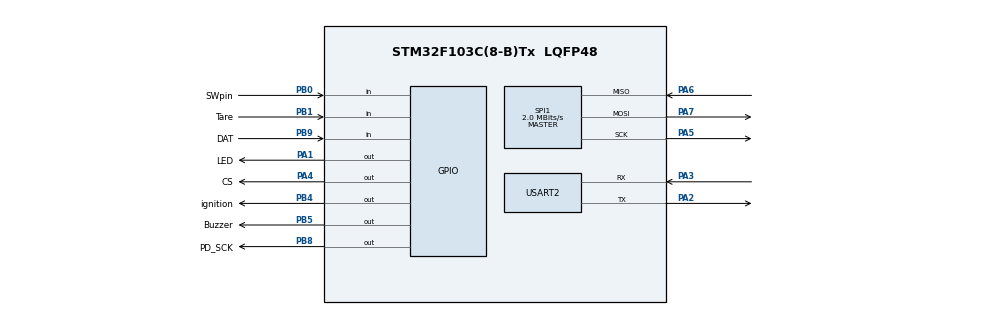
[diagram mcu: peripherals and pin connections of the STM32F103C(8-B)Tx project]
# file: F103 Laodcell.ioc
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FATFS._MAX_SS=4096
FATFS._USE_LFN=1
Mcu.Family=STM32F1
Mcu.Name=STM32F103C(8-B)Tx
Mcu.Package=LQFP48
NVIC.PriorityGroup=NVIC_PRIORITYGROUP_4
PA1.GPIO_Label=LED
PA1.Signal=GPIO_Output
PA13.Mode=Trace_Asynchronous_SW
PA13.Signal=SYS_JTMS-SWDIO
PA14.Mode=Trace_Asynchronous_SW
PA14.Signal=SYS_JTCK-SWCLK
PA2.Mode=Asynchronous
PA2.Signal=USART2_TX
PA3.Mode=Asynchronous
PA3.Signal=USART2_RX
PA4.GPIO_Label=CS
PA4.Signal=GPIO_Output
PA5.Mode=Full_Duplex_Master
PA5.Signal=SPI1_SCK
PA6.Mode=Full_Duplex_Master
PA6.Signal=SPI1_MISO
PA7.Mode=Full_Duplex_Master
PA7.Signal=SPI1_MOSI
PB0.GPIO_Label=SWpin
PB0.Signal=GPIO_Input
PB1.GPIO_Label=Tare
PB1.Signal=GPIO_Input
PB3.Mode=Trace_Asynchronous_SW
PB3.Signal=SYS_JTDO-TRACESWO
PB4.GPIO_Label=ignition
PB4.Signal=GPIO_Output
PB5.GPIO_Label=Buzzer
PB5.Signal=GPIO_Output
PB8.GPIO_Label=PD_SCK
PB8.Signal=GPIO_Output
PB9.GPIO_Label=DAT
PB9.Signal=GPIO_Input
PC14-OSC32_IN.Mode=LSE-External-Oscillator
PC14-OSC32_IN.Signal=RCC_OSC32_IN
PC15-OSC32_OUT.Mode=LSE-External-Oscillator
PC15-OSC32_OUT.Signal=RCC_OSC32_OUT
PD0-OSC_IN.Mode=HSE-External-Oscillator
PD0-OSC_IN.Signal=RCC_OSC_IN
PD1-OSC_OUT.Mode=HSE-External-Oscillator
PD1-OSC_OUT.Signal=RCC_OSC_OUT
ProjectManager.HeapSize=0x200
ProjectManager.StackSize=0x400
ProjectManager.TargetToolchain=STM32CubeIDE
RCC.APB1Freq_Value=8000000
RCC.APB2Freq_Value=8000000
RCC.HSE_VALUE=16000000
RCC.PLLSourceVirtual=RCC_PLLSOURCE_HSE
RCC.USBFreq_Value=32000000
SPI1.BaudRatePrescaler=SPI_BAUDRATEPRESCALER_4
SPI1.CalculateBaudRate=2.0 MBits/s
SPI1.Direction=SPI_DIRECTION_2LINES
SPI1.Mode=SPI_MODE_MASTER
SPI1.VirtualType=VM_MASTER
TIM2.Period=10000
TIM2.Prescaler=8000
TIM4.Period=30000
TIM4.Prescaler=8000
USART2.VirtualMode=VM_ASYNC
VP_FATFS_VS_Generic.Mode=User_defined
VP_TIM2_VS_ClockSourceINT.Mode=Internal
VP_TIM4_VS_ClockSourceINT.Mode=Internal
board=custom

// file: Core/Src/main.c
/* USER CODE BEGIN Header */
/**
  ******************************************************************************
  * @file           : main.c
  * @brief          : Main program body
  ******************************************************************************
  * @attention
  *
  * Copyright (c) 2023 STMicroelectronics.
  * All rights reserved.
  *
  * This software is licensed under terms that can be found in the LICENSE file
  * in the root directory of this software component.
  * If no LICENSE file comes with this software, it is provided AS-IS.
  *
  ******************************************************************************
  */
/* USER CODE END Header */
#include "main.h"
#include "fatfs.h"

/* USER CODE BEGIN Includes */
#include "fatfs_sd_card.h"
#include <HX711.h>
#include "string.h"
#include "stdio.h"
#include "stdbool.h"
/* USER CODE END Includes */

/* USER CODE BEGIN PTD */
FATFS       FatFs;                //Fatfs handle
FIL         fil;                  //File handle
FRESULT     fres;                 //Result after operations
char        buf[100];
char time[10];
char data[50];
float Thrust;
hx711_t loadcell;
int Start_button_state = 1;
/* USER CODE END PTD */

SPI_HandleTypeDef hspi1;

TIM_HandleTypeDef htim2;
TIM_HandleTypeDef htim4;

UART_HandleTypeDef huart2;

/* USER CODE BEGIN PV */
/* hx711 calibrate here*/
void init_weight(hx711_t *hx711){
	char buffer[128] = {0};
	sprintf(buffer,"HX711 initialization\n\r");
	HAL_UART_Transmit(&huart2, (uint8_t *)(buffer), sizeof(buffer), 100);

	/* Initialize the hx711 sensors */
	hx711_init(hx711, PD_SCK_GPIO_Port, PD_SCK_Pin, DAT_GPIO_Port, DAT_Pin);

	/* Configure gain for each channel (see datasheet for details) */
	set_gain(hx711, 128, 32);

	/* Set HX711 scaling factor (see README for procedure) */
	set_scale(hx711, 206.4, 1);

	/* Tare weight */
	tare_all(hx711, 10);

	sprintf(buffer,"HX711 module has been initialized\n\r");
	HAL_UART_Transmit(&huart2, (uint8_t *)(buffer), sizeof(buffer), 100);
}

/* USER CODE END PV */

void SystemClock_Config(void);
static void MX_GPIO_Init(void);
static void MX_SPI1_Init(void);
static void MX_TIM2_Init(void);
static void MX_USART2_UART_Init(void);
static void MX_TIM4_Init(void);
/* USER CODE BEGIN PFP */
void process_SD_card( void );
/* USER CODE END PFP */

/* USER CODE BEGIN 0 */

/* delay function*/
void delay2_ms(uint32_t target) {
	__HAL_TIM_SET_COUNTER(&htim2, 0);
	HAL_TIM_Base_Start(&htim2);
	while(__HAL_TIM_GET_COUNTER(&htim2) < target) {
		// waiting counter to count to target
	    }
}
void delay4_ms(uint32_t target) {
	__HAL_TIM_SET_COUNTER(&htim4, 0);
	HAL_TIM_Base_Start(&htim4);
	while(__HAL_TIM_GET_COUNTER(&htim4) < target) {
		// waiting counter to count to target
	    }
}

/* sequence initialized function to count down*/
void SI_func(){
	for (int b =0;b<= 10;b++ ){
			HAL_GPIO_WritePin(Buzzer_GPIO_Port, Buzzer_Pin, GPIO_PIN_SET);
			delay2_ms(500);
			HAL_GPIO_WritePin(Buzzer_GPIO_Port, Buzzer_Pin, GPIO_PIN_RESET);
			delay2_ms(500);
		}
	HAL_GPIO_WritePin(Buzzer_GPIO_Port, Buzzer_Pin, GPIO_PIN_RESET);
}
void ignition(){
	HAL_GPIO_WritePin(ignition_GPIO_Port, ignition_Pin, GPIO_PIN_SET);
	delay2_ms(500);
	HAL_GPIO_WritePin(ignition_GPIO_Port, ignition_Pin, GPIO_PIN_RESET);
}
/* USER CODE END 0 */

int main(void)
{

  /* MCU Configuration--------------------------------------------------------*/

  /* Reset of all peripherals, Initializes the Flash interface and the Systick. */
  HAL_Init();

  /* Configure the system clock */
  SystemClock_Config();

  /* Initialize all configured peripherals */
  MX_GPIO_Init();
  MX_SPI1_Init();
  MX_TIM2_Init();
  MX_USART2_UART_Init();
  MX_FATFS_Init();
  MX_TIM4_Init();
  /* USER CODE BEGIN 2 */
  init_weight(&loadcell);
  process_SD_card();

  /* USER CODE END 2 */

  /* Infinite loop */
  while (1){
  /* motor insert */
	  Start_button_state = HAL_GPIO_ReadPin(SWpin_GPIO_Port, SWpin_Pin);
  	  if(Start_button_state == GPIO_PIN_RESET){
  		  tare_all(&loadcell, 10);
  		  delay2_ms(1000);
  /* to indicate that it is tared */
  		  for(int u =0;u <= 5;u++ ){
  			  HAL_GPIO_WritePin(LED_GPIO_Port, LED_Pin, GPIO_PIN_SET);
  			  delay2_ms(500);
  			  HAL_GPIO_WritePin(LED_GPIO_Port, LED_Pin, GPIO_PIN_RESET);
  			  delay2_ms(500);
  	       	  }
  		  HAL_GPIO_WritePin(LED_GPIO_Port, LED_Pin, GPIO_PIN_RESET);
  		  delay4_ms(5000);
  /* SD card */
  		  f_mount(&FatFs, "", 1);
  		  f_open(&fil, "test.txt", FA_WRITE | FA_READ | FA_CREATE_ALWAYS);
  /* count down function called and set the timer*/
  		  SI_func();
  		  delay2_ms(1000);
  		  ignition();
  		  HAL_TIM_Base_Start(&htim4);
  		  __HAL_TIM_SET_COUNTER(&htim4, 0);
  /* Read data from the load cell at T-0 and send to USART and SD card*/
  		  while(__HAL_TIM_GET_COUNTER(&htim4) < 10000){
  		  		  Thrust = get_weight(&loadcell, 1, CHANNEL_A);
  		  		  printf("Thrust = %.3f\n", Thrust);
  		  		  snprintf(data, sizeof(data), "%.3f\n", Thrust);
  		  		  UINT bytesWritten;
  		  		  f_write(&fil, data, strlen(data), &bytesWritten);
  		  }
  		  HAL_TIM_Base_Stop(&htim4);
  /* data stop writing */
  		  f_close(&fil);
  		  f_mount(NULL, "", 0);
  		  delay2_ms(5000);
  /* sequence terminated */
  		  HAL_GPIO_WritePin(Buzzer_GPIO_Port, Buzzer_Pin, GPIO_PIN_SET);// high level
  		  delay2_ms(500);
  		  HAL_GPIO_WritePin(Buzzer_GPIO_Port, Buzzer_Pin, GPIO_PIN_RESET);// low level
  	  }else{
  		  Thrust = get_weight(&loadcell, 10, CHANNEL_A);
  		  printf("Thrust = %.3f\n", Thrust);
  	  }
        }
}

void SystemClock_Config(void)
{
  RCC_OscInitTypeDef RCC_OscInitStruct = {0};
  RCC_ClkInitTypeDef RCC_ClkInitStruct = {0};

  /** Initializes the RCC Oscillators according to the specified parameters
  * in the RCC_OscInitTypeDef structure.
  */
  RCC_OscInitStruct.OscillatorType = RCC_OSCILLATORTYPE_HSI;
  RCC_OscInitStruct.HSIState = RCC_HSI_ON;
  RCC_OscInitStruct.HSICalibrationValue = RCC_HSICALIBRATION_DEFAULT;
  RCC_OscInitStruct.PLL.PLLState = RCC_PLL_NONE;
  if (HAL_RCC_OscConfig(&RCC_OscInitStruct) != HAL_OK)
  {
    Error_Handler();
  }

  /** Initializes the CPU, AHB and APB buses clocks
  */
  RCC_ClkInitStruct.ClockType = RCC_CLOCKTYPE_HCLK|RCC_CLOCKTYPE_SYSCLK
                              |RCC_CLOCKTYPE_PCLK1|RCC_CLOCKTYPE_PCLK2;
  RCC_ClkInitStruct.SYSCLKSource = RCC_SYSCLKSOURCE_HSI;
  RCC_ClkInitStruct.AHBCLKDivider = RCC_SYSCLK_DIV1;
  RCC_ClkInitStruct.APB1CLKDivider = RCC_HCLK_DIV1;
  RCC_ClkInitStruct.APB2CLKDivider = RCC_HCLK_DIV1;

  if (HAL_RCC_ClockConfig(&RCC_ClkInitStruct, FLASH_LATENCY_0) != HAL_OK)
  {
    Error_Handler();
  }
}

static void MX_SPI1_Init(void)
{

  /* SPI1 parameter configuration*/
  hspi1.Instance = SPI1;
  hspi1.Init.Mode = SPI_MODE_MASTER;
  hspi1.Init.Direction = SPI_DIRECTION_2LINES;
  hspi1.Init.DataSize = SPI_DATASIZE_8BIT;
  hspi1.Init.CLKPolarity = SPI_POLARITY_LOW;
  hspi1.Init.CLKPhase = SPI_PHASE_1EDGE;
  hspi1.Init.NSS = SPI_NSS_SOFT;
  hspi1.Init.BaudRatePrescaler = SPI_BAUDRATEPRESCALER_4;
  hspi1.Init.FirstBit = SPI_FIRSTBIT_MSB;
  hspi1.Init.TIMode = SPI_TIMODE_DISABLE;
  hspi1.Init.CRCCalculation = SPI_CRCCALCULATION_DISABLE;
  hspi1.Init.CRCPolynomial = 10;
  if (HAL_SPI_Init(&hspi1) != HAL_OK)
  {
    Error_Handler();
  }

}

static void MX_TIM2_Init(void)
{

  TIM_ClockConfigTypeDef sClockSourceConfig = {0};
  TIM_MasterConfigTypeDef sMasterConfig = {0};

  htim2.Instance = TIM2;
  htim2.Init.Prescaler = 8000;
  htim2.Init.CounterMode = TIM_COUNTERMODE_UP;
  htim2.Init.Period = 10000;
  htim2.Init.ClockDivision = TIM_CLOCKDIVISION_DIV1;
  htim2.Init.AutoReloadPreload = TIM_AUTORELOAD_PRELOAD_DISABLE;
  if (HAL_TIM_Base_Init(&htim2) != HAL_OK)
  {
    Error_Handler();
  }
  sClockSourceConfig.ClockSource = TIM_CLOCKSOURCE_INTERNAL;
  if (HAL_TIM_ConfigClockSource(&htim2, &sClockSourceConfig) != HAL_OK)
  {
    Error_Handler();
  }
  sMasterConfig.MasterOutputTrigger = TIM_TRGO_RESET;
  sMasterConfig.MasterSlaveMode = TIM_MASTERSLAVEMODE_DISABLE;
  if (HAL_TIMEx_MasterConfigSynchronization(&htim2, &sMasterConfig) != HAL_OK)
  {
    Error_Handler();
  }

}

static void MX_TIM4_Init(void)
{

  TIM_ClockConfigTypeDef sClockSourceConfig = {0};
  TIM_MasterConfigTypeDef sMasterConfig = {0};

  htim4.Instance = TIM4;
  htim4.Init.Prescaler = 8000;
  htim4.Init.CounterMode = TIM_COUNTERMODE_UP;
  htim4.Init.Period = 30000;
  htim4.Init.ClockDivision = TIM_CLOCKDIVISION_DIV1;
  htim4.Init.AutoReloadPreload = TIM_AUTORELOAD_PRELOAD_DISABLE;
  if (HAL_TIM_Base_Init(&htim4) != HAL_OK)
  {
    Error_Handler();
  }
  sClockSourceConfig.ClockSource = TIM_CLOCKSOURCE_INTERNAL;
  if (HAL_TIM_ConfigClockSource(&htim4, &sClockSourceConfig) != HAL_OK)
  {
    Error_Handler();
  }
  sMasterConfig.MasterOutputTrigger = TIM_TRGO_RESET;
  sMasterConfig.MasterSlaveMode = TIM_MASTERSLAVEMODE_DISABLE;
  if (HAL_TIMEx_MasterConfigSynchronization(&htim4, &sMasterConfig) != HAL_OK)
  {
    Error_Handler();
  }

}

static void MX_USART2_UART_Init(void)
{

  huart2.Instance = USART2;
  huart2.Init.BaudRate = 115200;
  huart2.Init.WordLength = UART_WORDLENGTH_8B;
  huart2.Init.StopBits = UART_STOPBITS_1;
  huart2.Init.Parity = UART_PARITY_NONE;
  huart2.Init.Mode = UART_MODE_TX_RX;
  huart2.Init.HwFlowCtl = UART_HWCONTROL_NONE;
  huart2.Init.OverSampling = UART_OVERSAMPLING_16;
  if (HAL_UART_Init(&huart2) != HAL_OK)
  {
    Error_Handler();
  }

}

static void MX_GPIO_Init(void)
{
  GPIO_InitTypeDef GPIO_InitStruct = {0};

  /* GPIO Ports Clock Enable */
  __HAL_RCC_GPIOC_CLK_ENABLE();
  __HAL_RCC_GPIOD_CLK_ENABLE();
  __HAL_RCC_GPIOA_CLK_ENABLE();
  __HAL_RCC_GPIOB_CLK_ENABLE();

  /*Configure GPIO pin Output Level */
  HAL_GPIO_WritePin(GPIOA, LED_Pin|CS_Pin, GPIO_PIN_RESET);

  /*Configure GPIO pin Output Level */
  HAL_GPIO_WritePin(GPIOB, ignition_Pin|Buzzer_Pin|PD_SCK_Pin, GPIO_PIN_RESET);

  /*Configure GPIO pins : LED_Pin CS_Pin */
  GPIO_InitStruct.Pin = LED_Pin|CS_Pin;
  GPIO_InitStruct.Mode = GPIO_MODE_OUTPUT_PP;
  GPIO_InitStruct.Pull = GPIO_NOPULL;
  GPIO_InitStruct.Speed = GPIO_SPEED_FREQ_LOW;
  HAL_GPIO_Init(GPIOA, &GPIO_InitStruct);

  /*Configure GPIO pins : SWpin_Pin Tare_Pin DAT_Pin */
  GPIO_InitStruct.Pin = SWpin_Pin|Tare_Pin|DAT_Pin;
  GPIO_InitStruct.Mode = GPIO_MODE_INPUT;
  GPIO_InitStruct.Pull = GPIO_NOPULL;
  HAL_GPIO_Init(GPIOB, &GPIO_InitStruct);

  /*Configure GPIO pins : ignition_Pin Buzzer_Pin PD_SCK_Pin */
  GPIO_InitStruct.Pin = ignition_Pin|Buzzer_Pin|PD_SCK_Pin;
  GPIO_InitStruct.Mode = GPIO_MODE_OUTPUT_PP;
  GPIO_InitStruct.Pull = GPIO_NOPULL;
  GPIO_InitStruct.Speed = GPIO_SPEED_FREQ_LOW;
  HAL_GPIO_Init(GPIOB, &GPIO_InitStruct);

}

/* USER CODE BEGIN 4 */
int __io_putchar(int ch) {
    ITM_SendChar(ch);
    return ch;
}
void process_SD_card( void )
{
  FATFS       FatFs;                //Fatfs handle
  FIL         fil;                  //File handle
  FRESULT     fres;                 //Result after operations
  char        buf[100];

  do
  {
    //Mount the SD Card
    fres = f_mount(&FatFs, "", 1);    //1=mount now
    if (fres != FR_OK)
    {
      printf("No SD Card found : (%i)\r\n", fres);
      break;
    }
    printf("SD Card Mounted Successfully!!!\r\n");

    //Read the SD Card Total size and Free Size
    FATFS *pfs;
    DWORD fre_clust;
    uint32_t totalSpace, freeSpace;

    f_getfree("", &fre_clust, &pfs);
    totalSpace = (uint32_t)((pfs->n_fatent - 2) * pfs->csize * 0.5);
    freeSpace = (uint32_t)(fre_clust * pfs->csize * 0.5);

    printf("TotalSpace : %lu bytes, FreeSpace = %lu bytes\n", totalSpace, freeSpace);

    //Open the file
    fres = f_open(&fil, "test.txt", FA_WRITE | FA_READ | FA_CREATE_ALWAYS);
    if(fres != FR_OK)
    {
      printf("File creation/open Error : (%i)\r\n", fres);
      break;
    }

    printf("Writing data!!!\r\n");
    //write the data
    f_puts("Ready to conduct", &fil);

    //close your file
    f_close(&fil);

    //Open the file
    fres = f_open(&fil, "test.txt", FA_READ);
    if(fres != FR_OK)
    {
      printf("File opening Error : (%i)\r\n", fres);
      break;
    }

    //read the data
    f_gets(buf, sizeof(buf), &fil);

    printf("Read Data : %s\n", buf);

    //close your file
    f_close(&fil);
    printf("Closing File!!!\r\n");
  } while( false );

  //We're done, so de-mount the drive
  f_mount(NULL, "", 0);
  printf("SD Card Unmounted Successfully!!!\r\n");
}
/* USER CODE END 4 */

void Error_Handler(void)
{
  __disable_irq();
  while (1)
  {
  }
}
